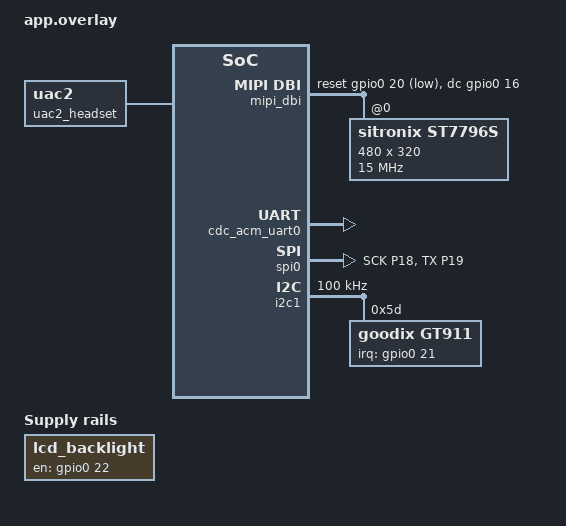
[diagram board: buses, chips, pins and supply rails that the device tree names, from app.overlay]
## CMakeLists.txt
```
# SPDX-License-Identifier: Apache-2.0

cmake_minimum_required(VERSION 3.28.0)

set(DTC_OVERLAY_FILE app.overlay)

find_package(Zephyr REQUIRED HINTS $ENV{ZEPHYR_BASE})
project(pico_sense)

option(PICO_SENSE_DIAGNOSTIC_NO_USB "Skip USB startup and blink after drawing the display" OFF)
if(PICO_SENSE_DIAGNOSTIC_NO_USB)
  target_compile_definitions(app PRIVATE PICO_SENSE_DIAGNOSTIC_NO_USB=1)
endif()

target_sources(app PRIVATE src/main.c src/display_font.c src/battery_voltage.c src/volume_control.c src/wifi_ui.c src/usb.c src/uac2_headset.c)
target_sources_ifdef(CONFIG_PICO_SENSE_AUDIO app PRIVATE src/audio_output.c)

target_sources_ifdef(CONFIG_PICO_SENSE_LVGL_WIFI app PRIVATE src/wifi_ui_lvgl.c)

if(CONFIG_PICO_SENSE_LVGL_WIFI)
  target_sources(app PRIVATE src/battery_display_lvgl.c src/dashboard_lvgl.c src/ui_cards.c)
else()
  target_sources(app PRIVATE src/battery_display.c)
endif()

# Board-local GT911 driver: atomic read/ack and a dedicated polling workqueue.
# Keep the upstream Kconfig/devicetree binding, replacing only its source.
get_target_property(pico_input_sources drivers__input SOURCES)
list(FILTER pico_input_sources EXCLUDE REGEX "(^|/)input_gt911\\.c$")
set_property(TARGET drivers__input PROPERTY SOURCES "${pico_input_sources}")
target_sources(app PRIVATE drivers/input_gt911.c)
```

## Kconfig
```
# SPDX-License-Identifier: Apache-2.0
mainmenu "Pico Sense"

config PICO_SENSE_AUDIO
	bool "MAX98357A / INMP441 PIO I2S"
	default y
	select PICOSDK_USE_DMA
	help
	  PIO0 generates shared I2S clocks. Two DMA channels feed the MAX98357A
	  and two more capture the INMP441 left channel.

config PICO_SENSE_LVGL_WIFI
	bool "LVGL dashboard and Wi-Fi trial"
	depends on LVGL
	default n
	help
	  Render the dashboard and Wi-Fi settings with LVGL partial buffers.
	  Reuses two SPI DMA strips and removes the legacy framebuffer.
	  Audio DMA allocations remain unchanged.

source "Kconfig.zephyr"
```

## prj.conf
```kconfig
CONFIG_SERIAL=y
CONFIG_CONSOLE=y
CONFIG_UART_CONSOLE=y
CONFIG_STDOUT_CONSOLE=y
CONFIG_UART_LINE_CTRL=y
CONFIG_GPIO=y
CONFIG_SPI=y
CONFIG_SPI_PL022_DMA=y
CONFIG_I2C=y
CONFIG_DISPLAY=y
CONFIG_INPUT=y
CONFIG_INPUT_GT911_MAX_TOUCH_POINTS=5
CONFIG_INPUT_LOG_LEVEL_INF=y
CONFIG_I2C_LOG_LEVEL_WRN=y
CONFIG_REGULATOR=y
CONFIG_MAIN_STACK_SIZE=4096
CONFIG_LOG=y
CONFIG_PRINTK=y

CONFIG_USB_DEVICE_STACK_NEXT=y
CONFIG_USBD_CDC_ACM_CLASS=y
CONFIG_CDC_ACM_SERIAL_INITIALIZE_AT_BOOT=n
CONFIG_USBD_AUDIO2_CLASS=y
CONFIG_USBD_UAC2_FS_WINDOWS_WORKAROUND=y
CONFIG_HWINFO=y
CONFIG_USBD_LOG_LEVEL_WRN=y
CONFIG_UDC_DRIVER_LOG_LEVEL_WRN=y
CONFIG_USBD_MAX_UDC_MSG=64
CONFIG_USBD_THREAD_STACK_SIZE=2048
CONFIG_UDC_BUF_COUNT=32
CONFIG_UDC_BUF_POOL_SIZE=4096
CONFIG_UDC_RPI_PICO_STACK_SIZE=2048
```

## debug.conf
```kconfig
# SPDX-License-Identifier: Apache-2.0
CONFIG_ASSERT=y
CONFIG_STACK_SENTINEL=y
CONFIG_INIT_STACKS=y
CONFIG_THREAD_NAME=y
CONFIG_LOG_MODE_IMMEDIATE=y
CONFIG_USBD_LOG_LEVEL_INF=y
CONFIG_UDC_DRIVER_LOG_LEVEL_INF=y
```

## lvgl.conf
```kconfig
# Opt-in dashboard and Wi-Fi trial. No automatic display/input setup or extra flush thread.
CONFIG_LVGL=y
CONFIG_PICO_SENSE_LVGL_WIFI=y
CONFIG_LV_Z_AUTO_INIT=n
CONFIG_LV_Z_RUN_LVGL_ON_WORKQUEUE=n
CONFIG_LV_Z_USE_OSAL=n
CONFIG_LV_Z_MEM_POOL_SIZE=65536
CONFIG_LV_CONF_MINIMAL=y
CONFIG_LV_COLOR_DEPTH_16=y
CONFIG_LV_USE_LABEL=y
CONFIG_LV_USE_BUTTON=y
CONFIG_LV_USE_LIST=y
CONFIG_LV_USE_BAR=y
CONFIG_LV_USE_SLIDER=y
CONFIG_LV_USE_TEXTAREA=y
CONFIG_LV_USE_BUTTONMATRIX=y
CONFIG_LV_USE_KEYBOARD=y
CONFIG_LV_FONT_MONTSERRAT_14=y
CONFIG_LV_FONT_MONTSERRAT_24=y
CONFIG_LV_USE_THEME_DEFAULT=y
CONFIG_LV_USE_FLEX=y
CONFIG_LV_BUILD_EXAMPLES=n
CONFIG_LV_BUILD_DEMOS=n

# Minimal LVGL defaults to ASCII; transcripts and SSIDs arrive as UTF-8.
CONFIG_LV_TXT_ENC_UTF8=y
```

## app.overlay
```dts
#include <zephyr/dt-bindings/gpio/gpio.h>
#include <zephyr/dt-bindings/usb/audio.h>
#include <zephyr/dt-bindings/i2c/i2c.h>
#include <zephyr/dt-bindings/mipi_dbi/mipi_dbi.h>
#include <zephyr/dt-bindings/pinctrl/rpi-pico-rp2350a-pinctrl.h>
#include <zephyr/dt-bindings/dma/rpi-pico-dma-rp2350.h>

/ {
	aliases {
		audio-pio = &pio0;
	};

	zephyr,user {
		i2s-bclk-pin = <10>;
		i2s-lrclk-pin = <11>;
		i2s-data-pin = <12>;
		i2s-data-in-pin = <13>;
	};

	chosen {
		zephyr,console = &cdc_acm_uart0;
		zephyr,display = &st7796s;
		zephyr,touch = &gt911;
	};

	/* Windows usbaudio2.sys (Win10 1703+) does not support implicit
	 * feedback, and rejects FS SOF-synchronous ISO. Async + explicit
	 * feedback is the path Zephyr documents for Windows, together with
	 * CONFIG_USBD_UAC2_FS_WINDOWS_WORKAROUND (FS feedback MPS = 4).
	 */
	uac2_headset: usb_audio2 {
		compatible = "zephyr,uac2";
		status = "okay";
		full-speed;
		audio-function = <AUDIO_FUNCTION_HEADSET>;

		uac_aclk: aclk {
			compatible = "zephyr,uac2-clock-source";
			clock-type = "internal-programmable";
			frequency-control = "host-programmable";
			sampling-frequencies = <48000>;
		};

		out_terminal: out_terminal {
			compatible = "zephyr,uac2-input-terminal";
			clock-source = <&uac_aclk>;
			terminal-type = <USB_TERMINAL_STREAMING>;
			front-left;
			front-right;
		};

		headphones_output: headphones {
			compatible = "zephyr,uac2-output-terminal";
			data-source = <&out_terminal>;
			clock-source = <&uac_aclk>;
			terminal-type = <BIDIRECTIONAL_TERMINAL_HEADSET>;
			assoc-terminal = <&mic_input>;
		};

		mic_input: microphone {
			compatible = "zephyr,uac2-input-terminal";
			clock-source = <&uac_aclk>;
			terminal-type = <BIDIRECTIONAL_TERMINAL_HEADSET>;
			front-left;
		};

		in_terminal: in_terminal {
			compatible = "zephyr,uac2-output-terminal";
			data-source = <&mic_input>;
			clock-source = <&uac_aclk>;
			terminal-type = <USB_TERMINAL_STREAMING>;
		};

		as_iso_out: out_interface {
			compatible = "zephyr,uac2-audio-streaming";
			linked-terminal = <&out_terminal>;
			subslot-size = <2>;
			bit-resolution = <16>;
		};

		as_iso_in: in_interface {
			compatible = "zephyr,uac2-audio-streaming";
			linked-terminal = <&in_terminal>;
			subslot-size = <2>;
			bit-resolution = <16>;
		};
	};

	lcd_backlight: lcd-backlight {
		compatible = "regulator-fixed";
		regulator-name = "lcd-backlight";
		enable-gpios = <&gpio0 22 GPIO_ACTIVE_HIGH>;
		regulator-boot-on;
	};

	mipi_dbi: mipi-dbi {
		compatible = "zephyr,mipi-dbi-spi";
		status = "okay";
		#address-cells = <1>;
		#size-cells = <0>;
		spi-dev = <&spi0>;
		dc-gpios = <&gpio0 16 GPIO_ACTIVE_HIGH>;
		reset-gpios = <&gpio0 20 GPIO_ACTIVE_LOW>;
		write-only;

		st7796s: st7796s@0 {
			compatible = "sitronix,st7796s";
			reg = <0>;
			mipi-max-frequency = <15000000>;
			mipi-mode = "MIPI_DBI_MODE_SPI_4WIRE";
			width = <480>;
			height = <320>;
			/* 90-degree landscape: MV+BGR, preserving panel color order. */
			madctl = <0x28>;
			pwr3 = <0xa7>;
			vcmpctl = <0x27>;
			doca = [40 82 07 18 27 0a b6 33];
			pgc = [f0 01 06 0f 12 1d 36 54 44 0c 18 16 13 15];
			ngc = [f0 01 05 0a 0b 07 32 44 44 0c 18 17 13 16];
		};
	};
};

&zephyr_udc0 {
	cdc_acm_uart0: cdc_acm_uart0 {
		compatible = "zephyr,cdc-acm-uart";
	};
};

&pio0 {
	status = "okay";
};

&pinctrl {
	spi0_lcd: spi0_lcd {
		group1 {
			pinmux = <SPI0_SCK_P18>, <SPI0_TX_P19>;
		};
	};

	i2c1_gt911: i2c1_gt911 {
		group1 {
			pinmux = <I2C1_SDA_P2>, <I2C1_SCL_P3>;
			input-enable;
			input-schmitt-enable;
			bias-pull-up;
		};
	};
};

&spi0 {
	status = "okay";
	pinctrl-0 = <&spi0_lcd>;
	pinctrl-names = "default";
	cs-gpios = <&gpio0 17 GPIO_ACTIVE_LOW>;
    dmas = <&dma 14 RPI_PICO_DMA_SLOT_SPI0_TX 0>,
           <&dma 15 RPI_PICO_DMA_SLOT_SPI0_RX 0>;
    dma-names = "tx", "rx";
};

/* Audio keeps IRQ0. Zephyr services LCD channels on IRQ1 only. */
&dma {
    status = "okay";
    interrupts = <11 RPI_PICO_DEFAULT_IRQ_PRIORITY>;
    interrupt-names = "dma1";
    irq0-channels = [];
};

&i2c1 {
	status = "okay";
	pinctrl-0 = <&i2c1_gt911>;
	pinctrl-names = "default";
	clock-frequency = <I2C_BITRATE_STANDARD>;

	gt911: gt911@5d {
		compatible = "goodix,gt911";
		reg = <0x5d>;
		alt-addr = <0x14>;
		irq-gpios = <&gpio0 21 (GPIO_ACTIVE_HIGH | GPIO_PULL_UP)>;
		display = <&st7796s>;
		screen-width = <320>;
		screen-height = <480>;
		/* Match LCD MADCTL.MV: native portrait axes become landscape X/Y. */
		swapped-x-y;
		/* Native X becomes landscape Y; physical upward motion must lower Y. */
		inverted-x;
	};
};
```

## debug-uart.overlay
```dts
/* SPDX-License-Identifier: Apache-2.0 */

/ {
	chosen {
		zephyr,console = &uart0;
	};
};

&uart0 {
	status = "okay";
	current-speed = <115200>;
};
```

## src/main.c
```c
/*
 * SPDX-License-Identifier: Apache-2.0
 */

#include "uac2_headset.h"
#include "usb.h"
#include "audio_output.h"
#include "battery_display.h"
#include "volume_control.h"
#include "wifi_ui.h"
#ifdef CONFIG_PICO_SENSE_LVGL_WIFI
#include "dashboard_lvgl.h"
#include "ui_cards.h"
#endif

#include <stdio.h>
#include <stdlib.h>
#include <string.h>
#include <pico/bootrom.h>
#include <zephyr/device.h>
#include <zephyr/drivers/display.h>
#include <zephyr/drivers/gpio.h>
#include <zephyr/drivers/uart.h>
#include <zephyr/init.h>
#include <zephyr/input/input.h>
#include <zephyr/kernel.h>
#include <zephyr/sys/util.h>

/* The console can use CDC ACM or a hardware UART for startup diagnostics. */
BUILD_ASSERT(DT_NODE_HAS_COMPAT(DT_CHOSEN(zephyr_display), sitronix_st7796s),
	     "Display is not ST7796S");
BUILD_ASSERT(DT_NODE_HAS_COMPAT(DT_CHOSEN(zephyr_touch), goodix_gt911),
	     "Touch is not GT911");

/*
 * Shared LCD/GT911 RESET is owned by the MIPI DBI node. Hold INT low before
 * that reset so GT911 latches I2C address 0x5D.
 */
static int gt911_hold_int_low(void)
{
	const struct gpio_dt_spec irq = GPIO_DT_SPEC_GET(DT_NODELABEL(gt911), irq_gpios);

	if (!gpio_is_ready_dt(&irq)) {
		return -ENODEV;
	}

	return gpio_pin_configure_dt(&irq, GPIO_OUTPUT_INACTIVE);
}

SYS_INIT(gt911_hold_int_low, POST_KERNEL, 40);

static struct k_spinlock touch_lock;
static struct volume_touch touch_state;
static unsigned int press_sequence;
static int64_t last_touch_report;
void pico_touch_diagnostics(uint32_t *,uint32_t *,uint32_t *,int *);
static int press_x, press_y;
static unsigned press_slot;
/* Controller and renderer are owned only by the console thread. */
static struct volume_control speaker_control;

static void touch_event(struct input_event *evt, void *user_data)
{
	static int32_t slot;
	static int32_t x;
	static int32_t y;
	static bool pressed;

	ARG_UNUSED(user_data);

	switch (evt->code) {
	case INPUT_ABS_MT_SLOT:
		slot = evt->value;
		break;
	case INPUT_ABS_X:
		x = evt->value;
		break;
	case INPUT_ABS_Y:
		y = evt->value;
		break;
	case INPUT_BTN_TOUCH:
		pressed = evt->value;
		break;
	default:
		break;
	}

	/* Driver sets sync on SLOT and again on BTN_TOUCH. Coalesce complete reports
	 * without drawing or blocking the input thread on SPI/console output. */
	if (evt->sync && evt->code == INPUT_BTN_TOUCH) {
		k_spinlock_key_t key = k_spin_lock(&touch_lock);
        last_touch_report=k_uptime_get();
		/* Inverted edge coordinates can equal the configured screen extent. */
		if (pressed && !touch_state.count) {
			press_sequence++;
            press_slot=slot;
			press_x = CLAMP(x, 0, 479);
			press_y = CLAMP(y, 0, 319);
		}
		volume_touch_report(&touch_state, slot, CLAMP(x, 0, 479), CLAMP(y, 0, 319), pressed);
		k_spin_unlock(&touch_lock, key);
	}
}

INPUT_CALLBACK_DEFINE(DEVICE_DT_GET(DT_CHOSEN(zephyr_touch)), touch_event, NULL);

static FUNC_NORETURN void enter_usb_bootloader(void)
{
	uint32_t led_mask = 0;

#if DT_NODE_EXISTS(DT_ALIAS(led0))
	led_mask = BIT(DT_GPIO_PIN(DT_ALIAS(led0), gpios));
#endif

	printf("demo: entering USB bootloader\n");
	k_msleep(50);
	reset_usb_boot(led_mask, 0);
	CODE_UNREACHABLE;
}

static void console_monitor_poll(const struct device *console)
{
	static char line[1024];
	static bool overflow;
	static size_t len;
	unsigned char c;

	while (uart_poll_in(console, &c) == 0) {
		if (c == '\r' || c == '\n') {
			if (overflow) {
				printf("ERR command too long\n");
				len = 0;
				overflow = false;
				continue;
			}
			if (len == 0) {
				continue;
			}
			line[len] = '\0';
			printf("\n");
			if (strcmp(line, "boot") == 0) {
				enter_usb_bootloader();
			} else if (strcmp(line, "touchstatus") == 0) {
                struct volume_touch touch;
                k_spinlock_key_t key=k_spin_lock(&touch_lock);
                touch=touch_state;int64_t age=k_uptime_get()-last_touch_report;
                k_spin_unlock(&touch_lock,key);
                uint32_t polls,errors,frames;int error;
                pico_touch_diagnostics(&polls,&errors,&frames,&error);
                printf("OK touch polls=%u frames=%u errors=%u last_error=%d age_ms=%lld count=%u session=%u multitouch=%u blocked=%u tracking=%u adjusting=%u alpha=%u\n",
                    polls,frames,errors,error,(long long)age,touch.count,touch.session,
                    touch.multitouch,speaker_control.blocked,speaker_control.tracking,
                    speaker_control.adjusting,speaker_control.alpha_q8/256);
                len=0;continue;
            }
#ifdef CONFIG_PICO_SENSE_LVGL_WIFI
            else if (strncmp(line, "robot ", 6) == 0) {
                int ret=dashboard_robot_reply(line+6);
                printf(ret<0 ? "ERR robot\n" : "OK robot\n");
                len=0;continue;
            }
#endif
            else if (strncmp(line, "wifi ", 5) == 0) {
                int ret = wifi_ui_command(line + 5);
                printf(ret < 0 ? "ERR wifi\n" : "OK wifi\n");
                len = 0; continue;
            } else if (strncmp(line, "listen ", 7) == 0) {
                unsigned long long id;
                unsigned int phase;
                char extra;
                int ret = -EINVAL;
                if (sscanf(line + 7, "%llu %u %c", &id, &phase, &extra) == 2)
                    ret = battery_display_listening(id, phase);
                if (ret < 0) printf("ERR listen %d\n", ret);
                else printf("OK listen %llu %u\n", id, phase);
                len = 0;
                continue;
            } else if (strncmp(line, "talk ", 5) == 0) {
                char *end;
                unsigned long long id = strtoull(line + 5, &end, 10);
                int ret = -EINVAL;
                if (end > line + 5 && end[0] == ' ' &&
                    (end[1] == 'w' || end[1] == 'g') && end[2] == ' ')
                    ret = battery_display_text(id, end[1] == 'g', end + 3);
                if (ret < 0) printf("ERR talk %d\n", ret);
                else printf("OK talk %llu\n", id);
                len = 0;
                continue;
            } else if (strncmp(line, "row ", 4) == 0) {
                int ret = -EINVAL;
                if (line[4] >= '0' && line[4] <= '5' && line[5] == ' ')
                    ret = battery_display_row(line[4] - '0', line + 6);
                if (ret < 0) printf("ERR row %d\n", ret);
                else printf("OK row %c\n", line[4]);
                len = 0;
                continue;
            } else if (strcmp(line, "voltage unavailable") == 0) {
                int ret = battery_display_unavailable();
                if (ret < 0) printf("ERR display %d\n", ret);
                else printf("OK voltage unavailable\n");
                len = 0;
                continue;
			} else if (strncmp(line, "voltage ", 8) == 0) {
				unsigned int value;
				if (battery_voltage_parse(line + 8, &value) < 0) {
					printf("ERR voltage: use voltage 0..99.99\n");
				} else {
					int ret = battery_display_update(value);
					if (ret < 0) {
						printf("ERR display %d\n", ret);
					} else {
						printf("OK voltage %u.%02u\n", value / 100, value % 100);
					}
				}
				len = 0;
				continue;
			} else if (IS_ENABLED(CONFIG_PICO_SENSE_AUDIO) && strcmp(line, "tone") == 0) {
				audio_output_test_tone();
				printf("demo: 1 kHz test tone for one second\n");
				len = 0;
				continue;
			} else if (IS_ENABLED(CONFIG_PICO_SENSE_AUDIO) && strcmp(line, "vol") == 0) {
				printf("OK vol %u\n", audio_output_get_volume());
				len = 0;
				continue;
			} else if (IS_ENABLED(CONFIG_PICO_SENSE_AUDIO) &&
				   strncmp(line, "vol ", 4) == 0) {
				char *end;
				long volume = strtol(line + 4, &end, 10);

				if (end != line + 4 && *end == '\0' && volume >= 0 && volume <= 100) {
					audio_output_set_volume(volume);
					volume_control_set(&speaker_control, volume, k_uptime_get());
					printf("demo: speaker volume %ld%%\n", volume);
				} else {
					printf("demo: use vol 0..100\n");
				}
				len = 0;
				continue;
			} else if (strcmp(line, "loop") == 0) {
				audio_set_loopback(true);
				printf("demo: USB audio loopback on (ignore INMP441)\n");
				len = 0;
				continue;
			} else if (strcmp(line, "noloop") == 0) {
				audio_set_loopback(false);
				printf("demo: USB record from INMP441\n");
				len = 0;
				continue;
			}
			printf("demo: unknown command '%s' (boot, loop, noloop, tone, vol 0..100, voltage 0..99.99)\n", line);
			len = 0;
			continue;
		}

		if (overflow) {
			continue;
		}

		if (c == '\b' || c == 0x7f) {
			if (len > 0) {
				len--;
				printf("\b \b");
			}
			continue;
		}

		/* Preserve UTF-8 continuation and leading bytes. Filtering to ASCII
		 * silently emptied Chinese talk commands before font lookup. DEL and
		 * terminal controls are handled above or ignored below. */
		if (c >= 32 && c != 127) {
			if (len + 1 >= sizeof(line)) {
				overflow = true;
				continue;
			}
			line[len++] = (char)c;
			uart_poll_out(console, c);
		}
	}
}

static void console_monitor_thread(void *p1, void *p2, void *p3)
{
	const struct device *console = p1;

	ARG_UNUSED(p2);
	ARG_UNUSED(p3);
	volume_control_init(&speaker_control,
		IS_ENABLED(CONFIG_PICO_SENSE_AUDIO) ? audio_output_get_volume() : 0, k_uptime_get());

    unsigned int consumed_press = 0;
	while (1) {
		console_monitor_poll(console);
        if (IS_ENABLED(CONFIG_PICO_SENSE_AUDIO)) {
            struct volume_touch snapshot;
            k_spinlock_key_t key = k_spin_lock(&touch_lock);
            snapshot = touch_state;
            unsigned int sequence = press_sequence;
            int x = press_x, y = press_y;
            unsigned first_slot=press_slot;
            k_spin_unlock(&touch_lock, key);
            /* Preserve a short tap that ended between console-thread ticks. */
            bool wifi_consumed = false;
            if (sequence != consumed_press && !snapshot.count && !snapshot.multitouch) {
                struct volume_touch press = snapshot;
                press.count = 1;
                if(first_slot<VOLUME_TOUCH_SLOTS)press.contacts[first_slot] = (struct volume_contact){x, y, true};
#ifdef CONFIG_PICO_SENSE_LVGL_WIFI
                wifi_consumed = ui_cards_touch(&press);
#endif
#ifndef CONFIG_PICO_SENSE_LVGL_WIFI
                if(!wifi_consumed)wifi_consumed = wifi_ui_touch(&press);
#endif
            }
#ifdef CONFIG_PICO_SENSE_LVGL_WIFI
            wifi_consumed=ui_cards_touch(&snapshot) || wifi_consumed;
#else
            wifi_consumed = wifi_ui_touch(&snapshot) || wifi_consumed;
            if (wifi_consumed) { speaker_control.session=snapshot.session; speaker_control.blocked=true; }
            if (sequence != consumed_press) {
                consumed_press = sequence;
                uint64_t id;
                if (!wifi_consumed && battery_display_listening_hit(x, y, &id)) {
                    speaker_control.session = snapshot.session;
                    speaker_control.blocked = true;
                    /* One event per new finger-down. A later tap can retry if
                     * its predecessor failed to reach the speech service. */
                    printf("\nEVENT quit %llu\n", (unsigned long long)id);
                }
            }
#endif
            consumed_press=sequence;
            struct volume_view view;
            struct volume_touch volume_touch=snapshot;
            /* Deferred taps and page gestures never enter volume recognition.
             * A zero-contact sample releases its latch before a vertical drag. */
            if(wifi_consumed){volume_touch.count=0;for(unsigned i=0;i<VOLUME_TOUCH_SLOTS;i++)volume_touch.contacts[i].down=false;}
            if (volume_control_tick(&speaker_control, &volume_touch, audio_output_get_volume(),
                                    k_uptime_get(), &view))
                audio_output_set_volume(view.percent);
            battery_display_volume(view.percent, view.level_q8, view.alpha);
        }
        battery_display_tick();
		k_msleep(20);
	}
}

#ifdef CONFIG_PICO_SENSE_LVGL_WIFI
K_THREAD_STACK_DEFINE(console_monitor_stack, 6144);
#else
K_THREAD_STACK_DEFINE(console_monitor_stack, 3072);
#endif
static struct k_thread console_monitor_tid;

#ifndef PICO_SENSE_DIAGNOSTIC_NO_USB
static int demo_usb_boot(void)
{
	int err = demo_uac2_init();

	if (err) {
		printk("demo: UAC2 initialization failed (%d)\n", err);
		return err;
	}

	err = demo_usb_init();
	if (err) {
		printk("demo: USB initialization failed (%d)\n", err);
	}
	return err;
}

SYS_INIT(demo_usb_boot, APPLICATION, CONFIG_APPLICATION_INIT_PRIORITY);
#endif

int main(void)
{
	const struct device *display = DEVICE_DT_GET(DT_CHOSEN(zephyr_display));
	const struct device *touch = DEVICE_DT_GET(DT_CHOSEN(zephyr_touch));
	const struct device *console = DEVICE_DT_GET(DT_CHOSEN(zephyr_console));

#ifndef PICO_SENSE_DIAGNOSTIC_NO_USB
	if (IS_ENABLED(CONFIG_PICO_SENSE_AUDIO)) {
		int ret = audio_output_init();

		if (ret < 0) {
			printf("demo: I2S init failed (%d)\n", ret);
		} else {
			printf("demo: I2S speaker GP12 / mic GP13, volume 25%%\n");
		}
	}
#endif

	printf("demo: Hello RP2350\n");
#ifdef PICO_SENSE_DIAGNOSTIC_NO_USB
	printf("demo: display isolation test, USB startup disabled\n");
#else
	printf("demo: USB CDC + UAC2 (48 kHz 16-bit stereo playback, mono record)\n");
#endif
	printf("demo: commands: boot, loop, noloop, tone, vol 0..100, voltage 0..99.99\n");

	int display_ret = battery_display_init(display);
	if (display_ret < 0) {
		printf("demo: battery display init failed (%d)\n", display_ret);
	} else {
		printf("demo: battery display 480x320 ready\n");
	}

	k_thread_create(&console_monitor_tid, console_monitor_stack,
			K_THREAD_STACK_SIZEOF(console_monitor_stack), console_monitor_thread,
			(void *)console, NULL, NULL, 7, 0, K_NO_WAIT);
	k_thread_name_set(&console_monitor_tid, "com_mon");

	if (!device_is_ready(touch)) {
		printf("demo: touch NOT ready (I2C/GT911 init failed)\n");
	} else {
		printf("demo: touch ready; slide one finger up/down on the right half for volume\n");
	}

#ifdef PICO_SENSE_DIAGNOSTIC_NO_USB
	const struct gpio_dt_spec led = GPIO_DT_SPEC_GET(DT_ALIAS(led0), gpios);

	if (!gpio_is_ready_dt(&led) || gpio_pin_configure_dt(&led, GPIO_OUTPUT_INACTIVE) < 0) {
		printk("demo: diagnostic LED unavailable\n");
		return 0;
	}
#endif

	while (1) {
#ifdef PICO_SENSE_DIAGNOSTIC_NO_USB
		gpio_pin_toggle_dt(&led);
		k_sleep(K_MSEC(500));
#else
		k_sleep(K_SECONDS(2));
#endif
		if (!device_is_ready(touch)) {
			printf("demo: touch still not ready\n");
		}
	}

	return 0;
}
```

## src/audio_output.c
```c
/* SPDX-License-Identifier: Apache-2.0 */

#include "audio_output.h"
#include "i2s_program.h"
#include "uac2_headset.h"

#include <hardware/dma.h>
#include <hardware/irq.h>
#include <zephyr/device.h>
#include <zephyr/drivers/clock_control.h>
#include <zephyr/drivers/misc/pio_rpi_pico/pio_rpi_pico.h>
#include <zephyr/drivers/reset.h>
#include <zephyr/irq.h>
#include <zephyr/kernel.h>
#include <zephyr/sys/atomic.h>
#include <zephyr/sys/util.h>

#define BCLK    DT_PROP(DT_PATH(zephyr_user), i2s_bclk_pin)
#define LRCLK   DT_PROP(DT_PATH(zephyr_user), i2s_lrclk_pin)
#define DATA    DT_PROP(DT_PATH(zephyr_user), i2s_data_pin)
#define DATA_IN DT_PROP(DT_PATH(zephyr_user), i2s_data_in_pin)

#define BLOCK_FRAMES     96
#define TX_WORDS         (BLOCK_FRAMES * 2)
#define I2S_TX_ORIGIN    0
#define I2S_RX_ORIGIN    ARRAY_SIZE(i2s_instructions)
#define I2S_RX_BITLOOP   5
#define I2S_RX_JMP       8
#define I2S_TX_ENTRY     7

#define PIO_WAIT_GPIO(polarity, gpio) \
	((uint16_t)(0x2000u | ((uint16_t)(polarity) << 7) | (gpio)))
#define PIO_JMP_X_DEC(addr) ((uint16_t)(0x0040u | ((addr) & 0x1fu)))
#define PIO_SET_X(imm)      ((uint16_t)(0xe020u | ((imm) & 0x1fu)))
#define PIO_IN_PINS(n)      ((uint16_t)(0x4000u | ((n) & 0x1fu)))

BUILD_ASSERT(LRCLK == BCLK + 1, "PIO side-set requires adjacent BCLK/LRCLK pins");
BUILD_ASSERT(DATA_IN != DATA, "I2S DIN and SD must be different pins");
#if defined(CONFIG_DMA)
BUILD_ASSERT(DT_NUM_IRQS(DT_NODELABEL(dma)) == 1 &&
             DT_IRQ_BY_IDX(DT_NODELABEL(dma), 0, irq) == DMA_IRQ_1 &&
             DT_PROP_LEN(DT_NODELABEL(dma), irq0_channels) == 0,
             "Zephyr DMA must use IRQ1 only; audio owns IRQ0");
#endif

static const struct device *const pio_dev = DEVICE_DT_GET(DT_ALIAS(audio_pio));
static PIO audio_pio;
static size_t tx_sm;
static size_t rx_sm;
static bool rx_enabled;
static int tx_channels[2] = { -1, -1 };
static int rx_channels[2] = { -1, -1 };
static uint32_t tx_buffers[2][TX_WORDS];
static uint32_t rx_buffers[2][BLOCK_FRAMES];
static atomic_t volume = ATOMIC_INIT(25);
static int applied_gain_q8 = 25 * 256;
static atomic_t tone_request;
static unsigned int tone_left;
static unsigned int tone_phase;

/*
 * Wait for WS falling, skip the I2S delay bit, capture the 32-bit left slot.
 * JMP target is program-relative: pio_add_program() relocates it to the
 * load offset after the TX program.
 */
static const uint16_t i2s_rx_instructions[] = {
	PIO_WAIT_GPIO(1, LRCLK),
	PIO_WAIT_GPIO(0, LRCLK),
	PIO_WAIT_GPIO(1, BCLK),
	PIO_WAIT_GPIO(0, BCLK),
	PIO_SET_X(31),
	PIO_WAIT_GPIO(1, BCLK),
	PIO_IN_PINS(1),
	PIO_WAIT_GPIO(0, BCLK),
	PIO_JMP_X_DEC(I2S_RX_BITLOOP),
};

static const int16_t tone[48] = {
	0, 535, 1060, 1567, 2048, 2493, 2896, 3250, 3547, 3784, 3956, 4061,
	4096, 4061, 3956, 3784, 3547, 3250, 2896, 2493, 2048, 1567, 1060, 535,
	0, -535, -1060, -1567, -2048, -2493, -2896, -3250, -3547, -3784, -3956, -4061,
	-4096, -4061, -3956, -3784, -3547, -3250, -2896, -2493, -2048, -1567, -1060, -535,
};

BUILD_ASSERT(ARRAY_SIZE(i2s_rx_instructions) > I2S_RX_JMP, "RX JMP slot missing");

static void unclaim_dma(int channels[2])
{
	for (size_t i = 0; i < 2; i++) {
		if (channels[i] >= 0) {
			dma_channel_unclaim(channels[i]);
			channels[i] = -1;
		}
	}
}

static int claim_dma_pair(int channels[2])
{
	channels[0] = dma_claim_unused_channel(false);
	channels[1] = dma_claim_unused_channel(false);
	if (channels[0] < 0 || channels[1] < 0) {
		unclaim_dma(channels);
		return -EBUSY;
	}
	return 0;
}

static void configure_pingpong(int channels[2], void *fifo, void *buf0, void *buf1,
			       size_t words, uint8_t sm, bool to_pio)
{
	void *bufs[2] = { buf0, buf1 };

	for (unsigned int i = 0; i < 2; i++) {
		dma_channel_config cfg = dma_channel_get_default_config(channels[i]);

		channel_config_set_transfer_data_size(&cfg, DMA_SIZE_32);
		channel_config_set_read_increment(&cfg, to_pio);
		channel_config_set_write_increment(&cfg, !to_pio);
		channel_config_set_dreq(&cfg, pio_get_dreq(audio_pio, sm, to_pio));
		channel_config_set_chain_to(&cfg, channels[1 - i]);
		dma_channel_configure(channels[i], &cfg, to_pio ? fifo : bufs[i],
				      to_pio ? bufs[i] : fifo, dma_encode_transfer_count(words),
				      false);
		dma_channel_acknowledge_irq0(channels[i]);
		dma_channel_set_irq0_enabled(channels[i], true);
	}
}

static void fill_tx_buffer(unsigned int index)
{
	int16_t pcm[BLOCK_FRAMES * AUDIO_CHANNELS];
	size_t got = audio_playback_pull(pcm, BLOCK_FRAMES);
	unsigned int gain = atomic_get(&volume);

	if (atomic_set(&tone_request, 0)) {
		tone_left = AUDIO_SAMPLE_RATE_HZ;
		tone_phase = 0;
	}

	for (size_t i = 0; i < BLOCK_FRAMES; i++) {
		int32_t sample = 0;

		if (tone_left > 0) {
			sample = tone[tone_phase];
			tone_phase = (tone_phase + 1) % ARRAY_SIZE(tone);
			tone_left--;
		} else if (i < got) {
			sample = ((int32_t)pcm[2 * i] + pcm[2 * i + 1]) / 2;
		}
		/* Ramp over samples so touch updates do not introduce gain-step clicks. */
		applied_gain_q8 += CLAMP((int)gain * 256 - applied_gain_q8, -32, 32);
		sample = sample * applied_gain_q8 / 25600;
		uint32_t slot = ((uint16_t)sample) << 16;

		tx_buffers[index][2 * i] = slot;
		tx_buffers[index][2 * i + 1] = slot;
	}
}

static void harvest_rx_buffer(unsigned int index)
{
	int16_t mono[BLOCK_FRAMES];

	if (audio_loopback_enabled()) {
		return;
	}

	for (size_t i = 0; i < BLOCK_FRAMES; i++) {
		mono[i] = (int16_t)(rx_buffers[index][i] >> 16);
	}
	audio_record_push(mono, BLOCK_FRAMES);
}

static bool dma_take_irq0(int channel)
{
	if (channel < 0 || !dma_channel_get_irq0_status(channel)) {
		return false;
	}
	dma_channel_acknowledge_irq0(channel);
	return true;
}

static void audio_dma_isr(const void *arg)
{
	ARG_UNUSED(arg);

	for (unsigned int i = 0; i < 2; i++) {
		if (!dma_take_irq0(tx_channels[i])) {
			continue;
		}
		fill_tx_buffer(i);
		dma_channel_set_read_addr(tx_channels[i], tx_buffers[i], false);
		dma_channel_set_trans_count(tx_channels[i], dma_encode_transfer_count(TX_WORDS),
					    false);
	}

	if (!rx_enabled) {
		return;
	}

	for (unsigned int i = 0; i < 2; i++) {
		if (!dma_take_irq0(rx_channels[i])) {
			continue;
		}
		harvest_rx_buffer(i);
		dma_channel_set_write_addr(rx_channels[i], rx_buffers[i], false);
		dma_channel_set_trans_count(rx_channels[i],
					    dma_encode_transfer_count(BLOCK_FRAMES), false);
	}
}

static int audio_rx_init(void)
{
	const struct pio_program program = {
		.instructions = i2s_rx_instructions,
		.length = ARRAY_SIZE(i2s_rx_instructions),
		.origin = I2S_RX_ORIGIN,
	};
	int ret;

	if (!pio_can_add_program(audio_pio, &program)) {
		return -ENOMEM;
	}
	ret = pio_rpi_pico_allocate_sm(pio_dev, &rx_sm);
	if (ret < 0) {
		return ret;
	}
	ret = claim_dma_pair(rx_channels);
	if (ret < 0) {
		pio_sm_unclaim(audio_pio, rx_sm);
		return ret;
	}

	unsigned int offset = pio_add_program(audio_pio, &program);
	pio_sm_config cfg = pio_get_default_sm_config();

	sm_config_set_wrap(&cfg, offset, offset + I2S_RX_JMP);
	sm_config_set_in_pins(&cfg, DATA_IN);
	sm_config_set_in_shift(&cfg, false, true, 32);
	sm_config_set_fifo_join(&cfg, PIO_FIFO_JOIN_RX);
	pio_sm_init(audio_pio, rx_sm, offset, &cfg);
	pio_sm_set_consecutive_pindirs(audio_pio, rx_sm, DATA_IN, 1, false);
	pio_gpio_init(audio_pio, DATA_IN);
	configure_pingpong(rx_channels, (void *)&audio_pio->rxf[rx_sm], rx_buffers[0],
			   rx_buffers[1], BLOCK_FRAMES, rx_sm, false);
	dma_start_channel_mask(BIT(rx_channels[0]));
	rx_enabled = true;
	return 0;
}

static int audio_tx_init(uint32_t clock_hz)
{
	const struct pio_program program = {
		.instructions = i2s_instructions,
		.length = ARRAY_SIZE(i2s_instructions),
		.origin = I2S_TX_ORIGIN,
	};
	int ret;

	if (!pio_can_add_program(audio_pio, &program)) {
		return -ENOMEM;
	}
	ret = pio_rpi_pico_allocate_sm(pio_dev, &tx_sm);
	if (ret < 0) {
		return ret;
	}
	ret = claim_dma_pair(tx_channels);
	if (ret < 0) {
		pio_sm_unclaim(audio_pio, tx_sm);
		return ret;
	}

	unsigned int offset = pio_add_program(audio_pio, &program);
	pio_sm_config cfg = pio_get_default_sm_config();
	uint32_t divider = ((uint64_t)clock_hz * 256 + AUDIO_SAMPLE_RATE_HZ * 64) /
			   (AUDIO_SAMPLE_RATE_HZ * 128);

	sm_config_set_wrap(&cfg, offset, offset + ARRAY_SIZE(i2s_instructions) - 1);
	sm_config_set_sideset(&cfg, 2, false, false);
	sm_config_set_sideset_pins(&cfg, BCLK);
	sm_config_set_out_pins(&cfg, DATA, 1);
	sm_config_set_out_shift(&cfg, false, true, 32);
	sm_config_set_fifo_join(&cfg, PIO_FIFO_JOIN_TX);
	sm_config_set_clkdiv_int_frac(&cfg, divider >> 8, divider & 0xff);
	pio_sm_init(audio_pio, tx_sm, offset + I2S_TX_ENTRY, &cfg);
	pio_sm_set_pins_with_mask(audio_pio, tx_sm, 0, BIT(BCLK) | BIT(LRCLK) | BIT(DATA));
	pio_sm_set_consecutive_pindirs(audio_pio, tx_sm, BCLK, 2, true);
	pio_sm_set_consecutive_pindirs(audio_pio, tx_sm, DATA, 1, true);
	pio_gpio_init(audio_pio, BCLK);
	pio_gpio_init(audio_pio, LRCLK);
	pio_gpio_init(audio_pio, DATA);
	configure_pingpong(tx_channels, (void *)&audio_pio->txf[tx_sm], tx_buffers[0],
			   tx_buffers[1], TX_WORDS, tx_sm, true);
	return 0;
}

int audio_output_init(void)
{
#if !defined(CONFIG_DMA)
	const struct reset_dt_spec dma_reset = RESET_DT_SPEC_GET(DT_NODELABEL(dma));
#endif
	const struct device *clock = DEVICE_DT_GET(DT_CLOCKS_CTLR(DT_ALIAS(audio_pio)));
	clock_control_subsys_t clock_id =
		(clock_control_subsys_t)DT_CLOCKS_CELL(DT_ALIAS(audio_pio), clk_id);
	uint32_t clock_hz;
	int ret;

	if (!device_is_ready(pio_dev) || !device_is_ready(clock)) {
		return -ENODEV;
	}
	ret = clock_control_get_rate(clock, clock_id, &clock_hz);
	if (ret < 0) {
		return ret;
	}
#if defined(CONFIG_DMA)
    /* The Zephyr driver initialized DMA before SPI. Do not reset it here.
     * Its channel allocator is independent of the SDK allocator used by audio. */
    const unsigned lcd_channels[] = {
        DT_DMAS_CELL_BY_NAME(DT_NODELABEL(spi0), tx, channel),
        DT_DMAS_CELL_BY_NAME(DT_NODELABEL(spi0), rx, channel),
    };
    for (unsigned i = 0; i < ARRAY_SIZE(lcd_channels); ++i) {
        if (!dma_channel_is_claimed(lcd_channels[i])) dma_channel_claim(lcd_channels[i]);
    }
#else
	ret = reset_line_toggle_dt(&dma_reset);
	if (ret < 0) {
		return ret;
	}
#endif

	audio_pio = pio_rpi_pico_get_pio(pio_dev);
	ret = audio_tx_init(clock_hz);
	if (ret < 0) {
		return ret;
	}
	ret = audio_rx_init();
	if (ret < 0) {
		printk("demo: INMP441 I2S RX unavailable (%d)\n", ret);
	}

	IRQ_CONNECT(DMA_IRQ_0, 2, audio_dma_isr, NULL, 0);
	irq_enable(DMA_IRQ_0);
	dma_start_channel_mask(BIT(tx_channels[0]));
	if (rx_enabled) {
		pio_set_sm_mask_enabled(audio_pio, BIT(tx_sm) | BIT(rx_sm), true);
	} else {
		pio_sm_set_enabled(audio_pio, tx_sm, true);
	}
	return 0;
}

void audio_output_test_tone(void)
{
	atomic_set(&tone_request, 1);
}

void audio_output_set_volume(unsigned int percent)
{
	atomic_set(&volume, MIN(percent, 100));
}

unsigned int audio_output_get_volume(void)
{
	return atomic_get(&volume);
}
```

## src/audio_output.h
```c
/* SPDX-License-Identifier: Apache-2.0 */
#pragma once

/* Shared I2S clocks: MAX98357A on GP12, INMP441 on GP13. */
int audio_output_init(void);
void audio_output_test_tone(void);
void audio_output_set_volume(unsigned int percent);
unsigned int audio_output_get_volume(void);
```

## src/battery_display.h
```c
/* SPDX-License-Identifier: Apache-2.0 */
#ifndef BATTERY_DISPLAY_H
#define BATTERY_DISPLAY_H
#include <zephyr/device.h>
#include <stdbool.h>
#include <stdint.h>
int battery_display_init(const struct device *display);
int battery_display_update(unsigned int centivolts);
int battery_display_unavailable(void);
int battery_display_row(unsigned int row, const char *text);
int battery_display_text(uint64_t id, bool spoken, const char *text);
void battery_display_tick(void);
int battery_display_listening(uint64_t id, unsigned int phase);
bool battery_display_listening_hit(int x, int y, uint64_t *id);
int battery_display_volume(unsigned int percent, unsigned int level_q8, unsigned int alpha);
int battery_voltage_parse(const char *text, unsigned int *centivolts);
#endif
```

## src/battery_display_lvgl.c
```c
/* SPDX-License-Identifier: Apache-2.0 */
#ifndef CONFIG_LV_TXT_ENC_UTF8
#error "The Pico LVGL display requires CONFIG_LV_TXT_ENC_UTF8=y"
#endif
#include "battery_display.h"
#include "wifi_ui.h"
#include "dashboard_lvgl.h"
#include <zephyr/drivers/display.h>
#include <zephyr/kernel.h>
#include <zephyr/sys/util.h>
#include <stdio.h>
#define WIDTH 480
#define HEIGHT 320
#define STRIP_LINES 16
static const struct device *lcd;
static int refresh_error;
struct transfer {
    uint8_t pixels[STRIP_LINES * WIDTH * 2] __aligned(4);
    struct display_buffer_descriptor desc;
    uint16_t x, y;
    struct k_sem done;
    int result;
    bool pending;
#ifdef CONFIG_PICO_SENSE_LVGL_WIFI
    lv_display_t *lv_display;
#endif
};
static struct transfer transfers[2];
K_MSGQ_DEFINE(flush_queue, sizeof(struct transfer *), 2, sizeof(void *));
K_THREAD_STACK_DEFINE(flush_stack, 1536);
static struct k_thread flush_thread;

static void flush_worker(void *a, void *b, void *c)
{
    ARG_UNUSED(a); ARG_UNUSED(b); ARG_UNUSED(c);
    for (;;) {
        struct transfer *job;
        k_msgq_get(&flush_queue, &job, K_FOREVER);
        job->result = display_write(lcd, job->x, job->y, &job->desc, job->pixels);
#ifdef CONFIG_PICO_SENSE_LVGL_WIFI
        if(job->lv_display) {
            lv_display_flush_ready(job->lv_display);
            job->lv_display=NULL;
        }
#endif
        k_sem_give(&job->done);
    }
}

static int finish_transfer(struct transfer *job)
{
    if (!job->pending) return 0;
    k_sem_take(&job->done, K_FOREVER);
    job->pending = false;
    return job->result;
}
#ifdef CONFIG_PICO_SENSE_LVGL_WIFI
/* LVGL partial buffers alias the existing DMA strips. A buffer is released to
 * LVGL only after display_write finishes. No extra channel or draw buffer. */
static void lvgl_flush(lv_display_t *display,const lv_area_t *area,uint8_t *pixels)
{
    struct transfer *job=NULL;
    for(unsigned i=0;i<ARRAY_SIZE(transfers);i++)
        if(pixels==transfers[i].pixels)job=&transfers[i];
    int width=area->x2-area->x1+1,height=area->y2-area->y1+1;
    if(!job || width<1 || height<1 || area->x1<0 || area->y1<0 ||
       area->x2>=WIDTH || area->y2>=HEIGHT || width*height*2>(int)sizeof(job->pixels)) {
        printf("LCD LVGL invalid flush area\n");lv_display_flush_ready(display);return;
    }
    int previous=finish_transfer(job);
    if(previous<0)refresh_error=previous;
    lv_draw_sw_rgb565_swap(pixels,width*height);

    job->x=area->x1;job->y=area->y1;
    job->desc=(struct display_buffer_descriptor){.buf_size=width*height*2,
        .width=width,.height=height,.pitch=width};
    job->lv_display=display;job->pending=true;
    k_msgq_put(&flush_queue,&job,K_FOREVER);
}
#endif

/* ACK only after all queued SPI writes complete. Retry a failed refresh as a
 * full LVGL invalidation; there is no shadow framebuffer to become stale. */
int dashboard_flush(void)
{
    if (!lcd) return -ENODEV;
    lv_refr_now(NULL);
    int result=refresh_error;
    refresh_error=0;
    for(unsigned i=0;i<ARRAY_SIZE(transfers);i++) {
        int ret=finish_transfer(&transfers[i]);if(ret<0)result=ret;
    }
    if(result<0)lv_obj_invalidate(lv_screen_active());
    return result;
}
int battery_display_init(const struct device *device)
{
    struct display_capabilities caps;
    if(!device_is_ready(device))return -ENODEV;
    display_get_capabilities(device,&caps);
    if(caps.x_resolution!=WIDTH || caps.y_resolution!=HEIGHT)return -EINVAL;
    lcd=device;
    for(unsigned i=0;i<ARRAY_SIZE(transfers);i++)k_sem_init(&transfers[i].done,0,1);
    k_thread_create(&flush_thread,flush_stack,K_THREAD_STACK_SIZEOF(flush_stack),
                    flush_worker,NULL,NULL,NULL,-1,0,K_NO_WAIT);
    int ret=wifi_ui_lvgl_init(transfers[0].pixels,transfers[1].pixels,
                              sizeof(transfers[0].pixels),lvgl_flush);
    if(ret==0){dashboard_init();ret=dashboard_flush();}
    if(ret==0)ret=display_blanking_off(lcd);
    if(ret<0)lcd=NULL;
    return ret;
}
```

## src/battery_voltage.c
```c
/* SPDX-License-Identifier: Apache-2.0 */
#include <stddef.h>

/* Strict decimal protocol: 0..99.99 volts, at most two decimal places. */
int battery_voltage_parse(const char *text, unsigned int *centivolts)
{
	unsigned int whole = 0, fraction = 0, digits = 0;
	if (*text < '0' || *text > '9') {
		return -1;
	}
	while (*text >= '0' && *text <= '9') {
		if (++digits > 2) {
			return -1;
		}
		whole = whole * 10 + (*text++ - '0');
	}
	if (*text == '.') {
		text++;
		if (*text < '0' || *text > '9') {
			return -1;
		}
		fraction = (*text++ - '0') * 10;
		if (*text >= '0' && *text <= '9') {
			fraction += *text++ - '0';
		}
	}
	if (*text != '\0') {
		return -1;
	}
	*centivolts = whole * 100 + fraction;
	return 0;
}
```

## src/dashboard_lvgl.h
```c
/* SPDX-License-Identifier: Apache-2.0 */
#pragma once
void dashboard_init(void);
int dashboard_flush(void);
#include "volume_control.h"
bool dashboard_touch(const struct volume_touch *touch);
int dashboard_robot_reply(const char *reply);
void dashboard_set_control_page(bool active);
void dashboard_cancel_touch(void);
```

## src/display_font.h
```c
/* SPDX-License-Identifier: Apache-2.0 */
#pragma once
#include <stdint.h>
const unsigned char *display_font_glyph(uint32_t code, unsigned int *width);
```

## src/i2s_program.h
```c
/* SPDX-License-Identifier: Apache-2.0 */
#pragma once
#include <stdint.h>

/*
 * 32-bit I2S slots, MSB first, one FIFO word per channel.
 * Side-set bit 0 is BCLK, bit 1 is LRCLK. LRCLK changes on the
 * previous channel's LSB, one bit before the next channel's MSB.
 * Each stereo frame is 128 PIO cycles (64 BCLK). Start at instruction 7.
 */
static const uint16_t i2s_instructions[] = {
	0x6001, /* out pins, 1      side 0 */
	0x0840, /* jmp x--, 0       side 1 */
	0x7001, /* out pins, 1      side 2 */
	0xf83e, /* set x, 30        side 3 */
	0x7001, /* out pins, 1      side 2 */
	0x1844, /* jmp x--, 4       side 3 */
	0x6001, /* out pins, 1      side 0 */
	0xe83e, /* set x, 30        side 1 */
};
```

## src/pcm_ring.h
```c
/* SPDX-License-Identifier: Apache-2.0 */
#pragma once
#include <stddef.h>
#include <stdint.h>

#define PCM_RING_FRAMES 384

/* Caller serializes access. Index and count are in frames, not samples. */
struct pcm_ring {
	int16_t samples[PCM_RING_FRAMES * 2];
	size_t write;
	size_t count;
	uint8_t channels;
};

static inline void pcm_ring_push(struct pcm_ring *ring, const int16_t *src, size_t frames)
{
	for (size_t f = 0; f < frames; f++) {
		for (size_t ch = 0; ch < ring->channels; ch++) {
			ring->samples[ring->write * ring->channels + ch] = *src++;
		}
		ring->write = (ring->write + 1) % PCM_RING_FRAMES;
		if (ring->count < PCM_RING_FRAMES) {
			ring->count++;
		}
	}
}

static inline size_t pcm_ring_pull(struct pcm_ring *ring, int16_t *dst, size_t frames)
{
	size_t copied = frames < ring->count ? frames : ring->count;
	size_t read = (ring->write + PCM_RING_FRAMES - ring->count) % PCM_RING_FRAMES;

	for (size_t f = 0; f < copied; f++) {
		for (size_t ch = 0; ch < ring->channels; ch++) {
			*dst++ = ring->samples[read * ring->channels + ch];
		}
		read = (read + 1) % PCM_RING_FRAMES;
	}
	ring->count -= copied;
	return copied;
}
```
